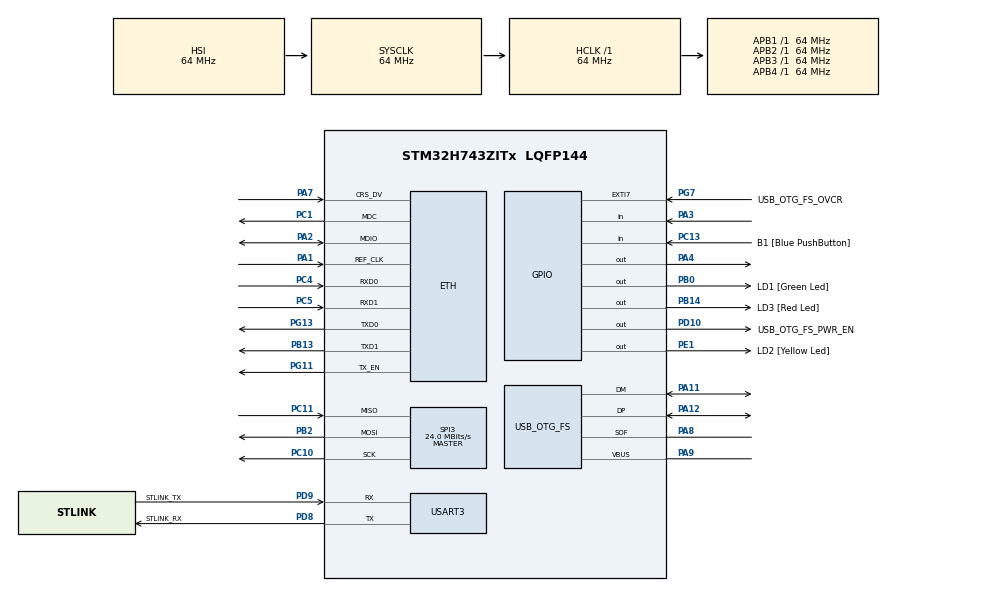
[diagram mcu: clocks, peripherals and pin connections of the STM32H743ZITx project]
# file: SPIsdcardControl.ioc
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ETH.MediaInterface=HAL_ETH_RMII_MODE
FREERTOS.Tasks01=defaultTask,24,128,StartDefaultTask,Default,NULL,Dynamic,NULL,NULL
FREERTOS.configUSE_NEWLIB_REENTRANT=1
Mcu.Family=STM32H7
Mcu.Name=STM32H743ZITx
Mcu.Package=LQFP144
NVIC.PriorityGroup=NVIC_PRIORITYGROUP_4
NVIC.TIM1_UP_IRQn=true\:15\:0\:false\:false\:true\:false\:false\:true\:true
NVIC.TimeBase=TIM1_UP_IRQn
NVIC.TimeBaseIP=TIM1
PA1.Mode=RMII
PA1.Signal=ETH_REF_CLK
PA11.Mode=Device_Only
PA11.Signal=USB_OTG_FS_DM
PA12.Mode=Device_Only
PA12.Signal=USB_OTG_FS_DP
PA2.Mode=RMII
PA2.Signal=ETH_MDIO
PA3.Signal=GPIO_Input
PA4.Signal=GPIO_Output
PA7.Mode=RMII
PA7.Signal=ETH_CRS_DV
PA8.Mode=Activate_SOF_FS
PA8.Signal=USB_OTG_FS_SOF
PA9.Mode=Activate_VBUS
PA9.Signal=USB_OTG_FS_VBUS
PB0.GPIO_Label=LD1 [Green Led]
PB0.Signal=GPIO_Output
PB13.Mode=RMII
PB13.Signal=ETH_TXD1
PB14.GPIO_Label=LD3 [Red Led]
PB14.Signal=GPIO_Output
PB2.Mode=Full_Duplex_Master
PB2.Signal=SPI3_MOSI
PC1.Mode=RMII
PC1.Signal=ETH_MDC
PC10.Mode=Full_Duplex_Master
PC10.Signal=SPI3_SCK
PC11.Mode=Full_Duplex_Master
PC11.Signal=SPI3_MISO
PC13.GPIO_Label=B1 [Blue PushButton]
PC13.Signal=GPIO_Input
PC14-OSC32_IN\ (OSC32_IN).Mode=LSE-External-Oscillator
PC14-OSC32_IN\ (OSC32_IN).Signal=RCC_OSC32_IN
PC15-OSC32_OUT\ (OSC32_OUT).Mode=LSE-External-Oscillator
PC15-OSC32_OUT\ (OSC32_OUT).Signal=RCC_OSC32_OUT
PC4.Mode=RMII
PC4.Signal=ETH_RXD0
PC5.Mode=RMII
PC5.Signal=ETH_RXD1
PD10.GPIO_Label=USB_OTG_FS_PWR_EN
PD10.Signal=GPIO_Output
PD8.GPIO_Label=STLINK_RX
PD8.Mode=Asynchronous
PD8.Signal=USART3_TX
PD9.GPIO_Label=STLINK_TX
PD9.Mode=Asynchronous
PD9.Signal=USART3_RX
PE1.GPIO_Label=LD2 [Yellow Led]
PE1.Signal=GPIO_Output
PG11.Mode=RMII
PG11.Signal=ETH_TX_EN
PG13.Mode=RMII
PG13.Signal=ETH_TXD0
PG7.GPIO_Label=USB_OTG_FS_OVCR
PG7.Signal=GPXTI7
PH0-OSC_IN\ (PH0).Mode=HSE-External-Clock-Source
PH0-OSC_IN\ (PH0).Signal=RCC_OSC_IN
PH1-OSC_OUT\ (PH1).Signal=RCC_OSC_OUT
ProjectManager.HeapSize=0x200
ProjectManager.StackSize=0x400
ProjectManager.TargetToolchain=STM32CubeIDE
RCC.ADCFreq_Value=16125000
RCC.APB1Freq_Value=64000000
RCC.APB2Freq_Value=64000000
RCC.APB3Freq_Value=64000000
RCC.APB4Freq_Value=64000000
RCC.CortexFreq_Value=64000000
RCC.DIVM1=1
RCC.DIVN1=24
RCC.DIVQ1=4
RCC.HCLKFreq_Value=64000000
RCC.HSE_VALUE=8000000
RCC.PLLFRACN=0
RCC.PWR_Regulator_Voltage_Scale=PWR_REGULATOR_VOLTAGE_SCALE2
RCC.SYSCLKFreq_VALUE=64000000
RCC.USBFreq_Value=48000000
SPI3.CalculateBaudRate=24.0 MBits/s
SPI3.Direction=SPI_DIRECTION_2LINES
SPI3.Mode=SPI_MODE_MASTER
SPI3.VirtualType=VM_MASTER
USART3.VirtualMode-Asynchronous=VM_ASYNC
USB_OTG_FS.VirtualMode=Device_Only
VP_FREERTOS_VS_CMSIS_V2.Mode=CMSIS_V2
VP_SYS_VS_tim1.Mode=TIM1
board=NUCLEO-H743ZI2

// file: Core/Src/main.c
/* USER CODE BEGIN Header */
/**
  ******************************************************************************
  * @file           : main.c
  * @brief          : Main program body
  ******************************************************************************
  * @attention
  *
  * Copyright (c) 2022 STMicroelectronics.
  * All rights reserved.
  *
  * This software is licensed under terms that can be found in the LICENSE file
  * in the root directory of this software component.
  * If no LICENSE file comes with this software, it is provided AS-IS.
  *
  ******************************************************************************
  */
/* USER CODE END Header */
#include "main.h"
#include "string.h"
#include "cmsis_os.h"

/* USER CODE BEGIN PD */
#include "sdcard.h"

FATFS fatfs;
FATFS *pfatfs;

#ifdef __GNUC__
/* With GCC, small printf (option LD Linker->Libraries->Small printf
   set to 'Yes') calls __io_putchar() */
#define PUTCHAR_PROTOTYPE int __io_putchar(int ch)
#define GETCHAR_PROTOTYPE int __io_getchar()
#else
#define PUTCHAR_PROTOTYPE int fputc(int ch, FILE *f)
#endif /* __GNUC__ */

// state Holders
uint8_t state_mount = 0;
uint8_t state_unmount = 0;
//

#define MAX_BUFFER 512
char Buffer[MAX_BUFFER];

/* USER CODE END PD */

#if defined ( __ICCARM__ ) /*!< IAR Compiler */
#pragma location=0x30000000
ETH_DMADescTypeDef  DMARxDscrTab[ETH_RX_DESC_CNT]; /* Ethernet Rx DMA Descriptors */
#pragma location=0x30000200
ETH_DMADescTypeDef  DMATxDscrTab[ETH_TX_DESC_CNT]; /* Ethernet Tx DMA Descriptors */
#pragma location=0x30000260
uint8_t Rx_Buff[ETH_RX_DESC_CNT][ETH_MAX_PACKET_SIZE]; /* Ethernet Receive Buffers */

#elif defined ( __CC_ARM )  /* MDK ARM Compiler */

__attribute__((at(0x30000000))) ETH_DMADescTypeDef  DMARxDscrTab[ETH_RX_DESC_CNT]; /* Ethernet Rx DMA Descriptors */
__attribute__((at(0x30000200))) ETH_DMADescTypeDef  DMATxDscrTab[ETH_TX_DESC_CNT]; /* Ethernet Tx DMA Descriptors */
__attribute__((at(0x30000260))) uint8_t Rx_Buff[ETH_RX_DESC_CNT][ETH_MAX_PACKET_SIZE]; /* Ethernet Receive Buffer */

#elif defined ( __GNUC__ ) /* GNU Compiler */
ETH_DMADescTypeDef DMARxDscrTab[ETH_RX_DESC_CNT] __attribute__((section(".RxDecripSection"))); /* Ethernet Rx DMA Descriptors */
ETH_DMADescTypeDef DMATxDscrTab[ETH_TX_DESC_CNT] __attribute__((section(".TxDecripSection")));   /* Ethernet Tx DMA Descriptors */
uint8_t Rx_Buff[ETH_RX_DESC_CNT][ETH_MAX_PACKET_SIZE] __attribute__((section(".RxArraySection"))); /* Ethernet Receive Buffers */
#endif

ETH_TxPacketConfig TxConfig;

ETH_HandleTypeDef heth;

SPI_HandleTypeDef hspi3;

UART_HandleTypeDef huart3;

PCD_HandleTypeDef hpcd_USB_OTG_FS;

/* Definitions for defaultTask */
osThreadId_t defaultTaskHandle;
const osThreadAttr_t defaultTask_attributes = {
  .name = "defaultTask",
  .stack_size = 128 * 4,
  .priority = (osPriority_t) osPriorityNormal,
};

void SystemClock_Config(void);
static void MX_GPIO_Init(void);
static void MX_ETH_Init(void);
static void MX_USART3_UART_Init(void);
static void MX_USB_OTG_FS_PCD_Init(void);
static void MX_SPI3_Init(void);
void StartDefaultTask(void *argument);

int main(void)
{

  /* MCU Configuration--------------------------------------------------------*/

  /* Reset of all peripherals, Initializes the Flash interface and the Systick. */
  HAL_Init();

  /* Configure the system clock */
  SystemClock_Config();

  /* Initialize all configured peripherals */
  MX_GPIO_Init();
  MX_ETH_Init();
  MX_USART3_UART_Init();
  MX_USB_OTG_FS_PCD_Init();
  MX_SPI3_Init();

  /* USER CODE BEGIN 2 */

  //InitSdcard();

  FIL initFile;
  char* tempBuffer = malloc(12*sizeof(char));

  _mountSdcard();
  _openfile("initialFile", READ_WRITE_FILE, &initFile);
  _writeString("hello_world", &initFile);
  _readString(tempBuffer, 12, &initFile);
  printf(tempBuffer);

  /* USER CODE END 2 */

  /* Init scheduler */
  osKernelInitialize();

  /* Create the thread(s) */
  /* creation of defaultTask */
  defaultTaskHandle = osThreadNew(StartDefaultTask, NULL, &defaultTask_attributes);

  /* Start scheduler */
  osKernelStart();

  /* We should never get here as control is now taken by the scheduler */
  /* Infinite loop */
  while (1)
  {

  }
}

void SystemClock_Config(void)
{
  RCC_OscInitTypeDef RCC_OscInitStruct = {0};
  RCC_ClkInitTypeDef RCC_ClkInitStruct = {0};

  /** Supply configuration update enable
  */
  HAL_PWREx_ConfigSupply(PWR_LDO_SUPPLY);

  /** Configure the main internal regulator output voltage
  */
  __HAL_PWR_VOLTAGESCALING_CONFIG(PWR_REGULATOR_VOLTAGE_SCALE2);

  while(!__HAL_PWR_GET_FLAG(PWR_FLAG_VOSRDY)) {}

  /** Initializes the RCC Oscillators according to the specified parameters
  * in the RCC_OscInitTypeDef structure.
  */
  RCC_OscInitStruct.OscillatorType = RCC_OSCILLATORTYPE_HSI|RCC_OSCILLATORTYPE_HSE;
  RCC_OscInitStruct.HSEState = RCC_HSE_BYPASS;
  RCC_OscInitStruct.HSIState = RCC_HSI_DIV1;
  RCC_OscInitStruct.HSICalibrationValue = RCC_HSICALIBRATION_DEFAULT;
  RCC_OscInitStruct.PLL.PLLState = RCC_PLL_ON;
  RCC_OscInitStruct.PLL.PLLSource = RCC_PLLSOURCE_HSE;
  RCC_OscInitStruct.PLL.PLLM = 1;
  RCC_OscInitStruct.PLL.PLLN = 24;
  RCC_OscInitStruct.PLL.PLLP = 2;
  RCC_OscInitStruct.PLL.PLLQ = 4;
  RCC_OscInitStruct.PLL.PLLR = 2;
  RCC_OscInitStruct.PLL.PLLRGE = RCC_PLL1VCIRANGE_3;
  RCC_OscInitStruct.PLL.PLLVCOSEL = RCC_PLL1VCOWIDE;
  RCC_OscInitStruct.PLL.PLLFRACN = 0;
  if (HAL_RCC_OscConfig(&RCC_OscInitStruct) != HAL_OK)
  {
    Error_Handler();
  }

  /** Initializes the CPU, AHB and APB buses clocks
  */
  RCC_ClkInitStruct.ClockType = RCC_CLOCKTYPE_HCLK|RCC_CLOCKTYPE_SYSCLK
                              |RCC_CLOCKTYPE_PCLK1|RCC_CLOCKTYPE_PCLK2
                              |RCC_CLOCKTYPE_D3PCLK1|RCC_CLOCKTYPE_D1PCLK1;
  RCC_ClkInitStruct.SYSCLKSource = RCC_SYSCLKSOURCE_HSI;
  RCC_ClkInitStruct.SYSCLKDivider = RCC_SYSCLK_DIV1;
  RCC_ClkInitStruct.AHBCLKDivider = RCC_HCLK_DIV1;
  RCC_ClkInitStruct.APB3CLKDivider = RCC_APB3_DIV1;
  RCC_ClkInitStruct.APB1CLKDivider = RCC_APB1_DIV1;
  RCC_ClkInitStruct.APB2CLKDivider = RCC_APB2_DIV1;
  RCC_ClkInitStruct.APB4CLKDivider = RCC_APB4_DIV1;

  if (HAL_RCC_ClockConfig(&RCC_ClkInitStruct, FLASH_LATENCY_1) != HAL_OK)
  {
    Error_Handler();
  }
}

static void MX_ETH_Init(void)
{

   static uint8_t MACAddr[6];

  heth.Instance = ETH;
  MACAddr[0] = 0x00;
  MACAddr[1] = 0x80;
  MACAddr[2] = 0xE1;
  MACAddr[3] = 0x00;
  MACAddr[4] = 0x00;
  MACAddr[5] = 0x00;
  heth.Init.MACAddr = &MACAddr[0];
  heth.Init.MediaInterface = HAL_ETH_RMII_MODE;
  heth.Init.TxDesc = DMATxDscrTab;
  heth.Init.RxDesc = DMARxDscrTab;
  heth.Init.RxBuffLen = 1524;

  if (HAL_ETH_Init(&heth) != HAL_OK)
  {
    Error_Handler();
  }

  memset(&TxConfig, 0 , sizeof(ETH_TxPacketConfig));
  TxConfig.Attributes = ETH_TX_PACKETS_FEATURES_CSUM | ETH_TX_PACKETS_FEATURES_CRCPAD;
  TxConfig.ChecksumCtrl = ETH_CHECKSUM_IPHDR_PAYLOAD_INSERT_PHDR_CALC;
  TxConfig.CRCPadCtrl = ETH_CRC_PAD_INSERT;

}

static void MX_SPI3_Init(void)
{

  /* SPI3 parameter configuration*/
  hspi3.Instance = SPI3;
  hspi3.Init.Mode = SPI_MODE_MASTER;
  hspi3.Init.Direction = SPI_DIRECTION_2LINES;
  hspi3.Init.DataSize = SPI_DATASIZE_4BIT;
  hspi3.Init.CLKPolarity = SPI_POLARITY_LOW;
  hspi3.Init.CLKPhase = SPI_PHASE_1EDGE;
  hspi3.Init.NSS = SPI_NSS_SOFT;
  hspi3.Init.BaudRatePrescaler = SPI_BAUDRATEPRESCALER_2;
  hspi3.Init.FirstBit = SPI_FIRSTBIT_MSB;
  hspi3.Init.TIMode = SPI_TIMODE_DISABLE;
  hspi3.Init.CRCCalculation = SPI_CRCCALCULATION_DISABLE;
  hspi3.Init.CRCPolynomial = 0x0;
  hspi3.Init.NSSPMode = SPI_NSS_PULSE_ENABLE;
  hspi3.Init.NSSPolarity = SPI_NSS_POLARITY_LOW;
  hspi3.Init.FifoThreshold = SPI_FIFO_THRESHOLD_01DATA;
  hspi3.Init.TxCRCInitializationPattern = SPI_CRC_INITIALIZATION_ALL_ZERO_PATTERN;
  hspi3.Init.RxCRCInitializationPattern = SPI_CRC_INITIALIZATION_ALL_ZERO_PATTERN;
  hspi3.Init.MasterSSIdleness = SPI_MASTER_SS_IDLENESS_00CYCLE;
  hspi3.Init.MasterInterDataIdleness = SPI_MASTER_INTERDATA_IDLENESS_00CYCLE;
  hspi3.Init.MasterReceiverAutoSusp = SPI_MASTER_RX_AUTOSUSP_DISABLE;
  hspi3.Init.MasterKeepIOState = SPI_MASTER_KEEP_IO_STATE_DISABLE;
  hspi3.Init.IOSwap = SPI_IO_SWAP_DISABLE;
  if (HAL_SPI_Init(&hspi3) != HAL_OK)
  {
    Error_Handler();
  }

}

static void MX_USART3_UART_Init(void)
{

  huart3.Instance = USART3;
  huart3.Init.BaudRate = 115200;
  huart3.Init.WordLength = UART_WORDLENGTH_8B;
  huart3.Init.StopBits = UART_STOPBITS_1;
  huart3.Init.Parity = UART_PARITY_NONE;
  huart3.Init.Mode = UART_MODE_TX_RX;
  huart3.Init.HwFlowCtl = UART_HWCONTROL_NONE;
  huart3.Init.OverSampling = UART_OVERSAMPLING_16;
  huart3.Init.OneBitSampling = UART_ONE_BIT_SAMPLE_DISABLE;
  huart3.Init.ClockPrescaler = UART_PRESCALER_DIV1;
  huart3.AdvancedInit.AdvFeatureInit = UART_ADVFEATURE_NO_INIT;
  if (HAL_UART_Init(&huart3) != HAL_OK)
  {
    Error_Handler();
  }
  if (HAL_UARTEx_SetTxFifoThreshold(&huart3, UART_TXFIFO_THRESHOLD_1_8) != HAL_OK)
  {
    Error_Handler();
  }
  if (HAL_UARTEx_SetRxFifoThreshold(&huart3, UART_RXFIFO_THRESHOLD_1_8) != HAL_OK)
  {
    Error_Handler();
  }
  if (HAL_UARTEx_DisableFifoMode(&huart3) != HAL_OK)
  {
    Error_Handler();
  }

}

static void MX_USB_OTG_FS_PCD_Init(void)
{

  hpcd_USB_OTG_FS.Instance = USB_OTG_FS;
  hpcd_USB_OTG_FS.Init.dev_endpoints = 9;
  hpcd_USB_OTG_FS.Init.speed = PCD_SPEED_FULL;
  hpcd_USB_OTG_FS.Init.dma_enable = DISABLE;
  hpcd_USB_OTG_FS.Init.phy_itface = PCD_PHY_EMBEDDED;
  hpcd_USB_OTG_FS.Init.Sof_enable = ENABLE;
  hpcd_USB_OTG_FS.Init.low_power_enable = DISABLE;
  hpcd_USB_OTG_FS.Init.lpm_enable = DISABLE;
  hpcd_USB_OTG_FS.Init.battery_charging_enable = ENABLE;
  hpcd_USB_OTG_FS.Init.vbus_sensing_enable = ENABLE;
  hpcd_USB_OTG_FS.Init.use_dedicated_ep1 = DISABLE;
  if (HAL_PCD_Init(&hpcd_USB_OTG_FS) != HAL_OK)
  {
    Error_Handler();
  }

}

static void MX_GPIO_Init(void)
{
  GPIO_InitTypeDef GPIO_InitStruct = {0};

  /* GPIO Ports Clock Enable */
  __HAL_RCC_GPIOC_CLK_ENABLE();
  __HAL_RCC_GPIOH_CLK_ENABLE();
  __HAL_RCC_GPIOA_CLK_ENABLE();
  __HAL_RCC_GPIOB_CLK_ENABLE();
  __HAL_RCC_GPIOD_CLK_ENABLE();
  __HAL_RCC_GPIOG_CLK_ENABLE();
  __HAL_RCC_GPIOE_CLK_ENABLE();

  /*Configure GPIO pin Output Level */
  HAL_GPIO_WritePin(GPIOA, GPIO_PIN_4, GPIO_PIN_RESET);

  /*Configure GPIO pin Output Level */
  HAL_GPIO_WritePin(GPIOB, LD1_Pin|LD3_Pin, GPIO_PIN_RESET);

  /*Configure GPIO pin Output Level */
  HAL_GPIO_WritePin(USB_OTG_FS_PWR_EN_GPIO_Port, USB_OTG_FS_PWR_EN_Pin, GPIO_PIN_RESET);

  /*Configure GPIO pin Output Level */
  HAL_GPIO_WritePin(LD2_GPIO_Port, LD2_Pin, GPIO_PIN_RESET);

  /*Configure GPIO pin : B1_Pin */
  GPIO_InitStruct.Pin = B1_Pin;
  GPIO_InitStruct.Mode = GPIO_MODE_INPUT;
  GPIO_InitStruct.Pull = GPIO_NOPULL;
  HAL_GPIO_Init(B1_GPIO_Port, &GPIO_InitStruct);

  /*Configure GPIO pin : PA3 */
  GPIO_InitStruct.Pin = GPIO_PIN_3;
  GPIO_InitStruct.Mode = GPIO_MODE_INPUT;
  GPIO_InitStruct.Pull = GPIO_NOPULL;
  HAL_GPIO_Init(GPIOA, &GPIO_InitStruct);

  /*Configure GPIO pin : PA4 */
  GPIO_InitStruct.Pin = GPIO_PIN_4;
  GPIO_InitStruct.Mode = GPIO_MODE_OUTPUT_PP;
  GPIO_InitStruct.Pull = GPIO_NOPULL;
  GPIO_InitStruct.Speed = GPIO_SPEED_FREQ_LOW;
  HAL_GPIO_Init(GPIOA, &GPIO_InitStruct);

  /*Configure GPIO pins : LD1_Pin LD3_Pin */
  GPIO_InitStruct.Pin = LD1_Pin|LD3_Pin;
  GPIO_InitStruct.Mode = GPIO_MODE_OUTPUT_PP;
  GPIO_InitStruct.Pull = GPIO_NOPULL;
  GPIO_InitStruct.Speed = GPIO_SPEED_FREQ_LOW;
  HAL_GPIO_Init(GPIOB, &GPIO_InitStruct);

  /*Configure GPIO pin : USB_OTG_FS_PWR_EN_Pin */
  GPIO_InitStruct.Pin = USB_OTG_FS_PWR_EN_Pin;
  GPIO_InitStruct.Mode = GPIO_MODE_OUTPUT_PP;
  GPIO_InitStruct.Pull = GPIO_NOPULL;
  GPIO_InitStruct.Speed = GPIO_SPEED_FREQ_LOW;
  HAL_GPIO_Init(USB_OTG_FS_PWR_EN_GPIO_Port, &GPIO_InitStruct);

  /*Configure GPIO pin : USB_OTG_FS_OVCR_Pin */
  GPIO_InitStruct.Pin = USB_OTG_FS_OVCR_Pin;
  GPIO_InitStruct.Mode = GPIO_MODE_IT_RISING;
  GPIO_InitStruct.Pull = GPIO_NOPULL;
  HAL_GPIO_Init(USB_OTG_FS_OVCR_GPIO_Port, &GPIO_InitStruct);

  /*Configure GPIO pin : LD2_Pin */
  GPIO_InitStruct.Pin = LD2_Pin;
  GPIO_InitStruct.Mode = GPIO_MODE_OUTPUT_PP;
  GPIO_InitStruct.Pull = GPIO_NOPULL;
  GPIO_InitStruct.Speed = GPIO_SPEED_FREQ_LOW;
  HAL_GPIO_Init(LD2_GPIO_Port, &GPIO_InitStruct);

}

/* USER CODE BEGIN 4 */
/**
  * @brief  Retargets the C library printf and scanf functions to the UART.
  * @param  None
  * @retval None
  */

PUTCHAR_PROTOTYPE
{
  /* Place your implementation of fputc here */
  /* e.g. write a character to the LPUART1 and Loop until the end of transmission */
  HAL_UART_Transmit(&huart3, (uint8_t *)&ch, 1, 0xFFFF);

  return ch;
}

GETCHAR_PROTOTYPE
{
	uint8_t ch;

	HAL_UART_Receive(&huart3, &ch, 1, 0xFFFF);

	return ch;
}

void clearBuffer(void)
{
	 for(int s = 0; s <= MAX_BUFFER; s++)
			Buffer[s] = (char) 0;
}

void insertBuffer(char *data)
{
	 sprintf(Buffer , "%s" , data);
}

void InitSdcard(void)
{
		initGpio();
		initSpi();
		MX_FATFS_Init();
}

void _mountSdcard(void)
{

	if(state_mount == SDCARD_MOUNTED)
			return;
	else
	{
			if(f_mount(&fatfs , "" , 0) != FR_OK)
			{
				sdcardErrorHandle(SDCARD_ERROR_MOUNT , "Failed to mount sdcard");
				state_mount = SDCARD_NOT_MOUNTED;
			}
			else
			{
				state_mount = SDCARD_MOUNTED;
				state_unmount = SDCARD_NOT_UNMOUNTED;
			}
	}
}

void _unmountSdcard(void)
{

	if(state_unmount == SDCARD_UNMOUNTED)
			return;
	else
	{
			if(f_mount(NULL , "" , 1) != FR_OK)
			{
				sdcardErrorHandle(SDCARD_ERROR_MOUNT , "Failed to unmount sdcard");
				state_unmount = SDCARD_NOT_UNMOUNTED;
			}
			else
			{
				state_unmount = SDCARD_UNMOUNTED;
				state_mount = SDCARD_NOT_MOUNTED;
			}
	}
}

void _writeString(char *str , FIL *fil)
{
		f_puts(str , fil);
}

void _readString(char *buffer , size_t read_size , FIL *fil)
{

}

void _openfile(char *file_name , openType_t type , FIL *fil)
{

		if(type == READ_WRITE_FILE)
		{

				if(f_open(fil , file_name , FA_OPEN_ALWAYS | FA_READ | FA_WRITE))
					sdcardErrorHandle(SDCARD_ERROR_MOUNT , "Failed to open -R/W file");

		}
		else if(type == READ_FILE) {

			if(f_open(fil , file_name , FA_READ))
				sdcardErrorHandle(SDCARD_ERROR_MOUNT , "Failed to open -R file");
		}
		else if(type == WRITE_FILE)
		{
				if(f_open(fil , file_name , FA_OPEN_ALWAYS | FA_WRITE))
					sdcardErrorHandle(SDCARD_ERROR_MOUNT , "Failed to open -W file");
		}
		else return;
}

void _closefile(FIL *fil)
{
	 if(f_close(fil) != FR_OK)
		 sdcardErrorHandle(SDCARD_ERROR_MOUNT , "Failed to close file");
}

storage_info_t getSpaceInfo()
{
	 storage_info_t info;
	 DWORD fre_clus;
	 //
	 if(f_getfree("" , &fre_clus , &pfatfs) != FR_OK)
		 sdcardErrorHandle(SDCARD_ERROR_MOUNT , "Failed to get space info");

	 info.totalsize = (uint32_t)((pfatfs->n_fatent - 2) * pfatfs->csize * 0.5);
	 info.freesize = (uint32_t)(fre_clus * pfatfs->csize * 0.5);

	 if(info.freesize < 1)
		 sdcardErrorHandle(SDCARD_ERROR_MOUNT , "Low space in memory");

	 return info;
}

void _makeDirectory(char *dir_name)
{
		_mountSdcard();

		if(f_mkdir(dir_name) != FR_OK)
		 sdcardErrorHandle(SDCARD_ERROR_MOUNT , "Failed to get space info");

		_unmountSdcard();
}

void sdcardErrorHandle(uint8_t error_code , char *error_message)
{
		// Handle Errors
}

file_state_t getFileState(char *file)
{
		file_state_t file_state;
		FRESULT fr;
		FILINFO fno;

		fr = f_stat(file , &fno);

		if(fr == FR_OK)
			file_state = FILE_EXSITS;
		else
			file_state = FILE_NOT_EXISTS;

		return file_state;
}

void SdcardWriteAction(char *file_name , char *data)
{
		FIL fil;
		FRESULT fr;

		clearBuffer();
		insertBuffer(data);

		_mountSdcard();
		_openfile(file_name , WRITE_FILE , &fil);

		fr = f_lseek(&fil , f_size(&fil));
		if(fr != FR_OK)
			return;

		_writeString(Buffer , &fil);
		_closefile(&fil);
		_unmountSdcard();
}
/* USER CODE END 4 */

void StartDefaultTask(void *argument)
{
  for(;;)
  {
    osDelay(1);
  }
}

void HAL_TIM_PeriodElapsedCallback(TIM_HandleTypeDef *htim)
{
  if (htim->Instance == TIM1) {
    HAL_IncTick();
  }
}

void Error_Handler(void)
{
  __disable_irq();
  while (1)
  {
  }
}
